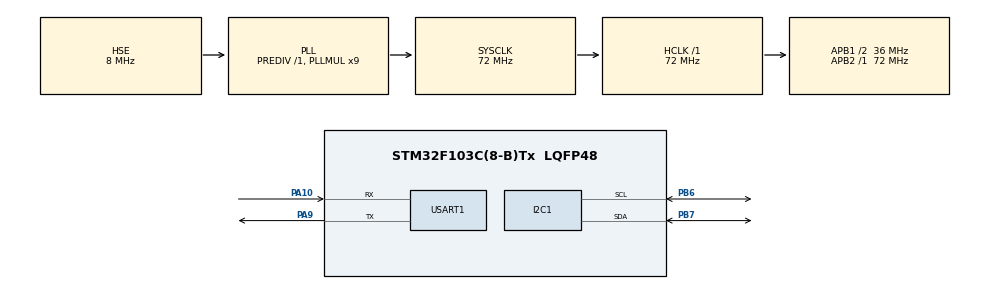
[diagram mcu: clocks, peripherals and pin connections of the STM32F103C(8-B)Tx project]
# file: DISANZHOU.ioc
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Mcu.Family=STM32F1
Mcu.Name=STM32F103C(8-B)Tx
Mcu.Package=LQFP48
NVIC.I2C1_ER_IRQn=true\:0\:0\:false\:false\:true\:true\:true\:true
NVIC.I2C1_EV_IRQn=true\:0\:0\:false\:false\:true\:true\:true\:true
NVIC.PriorityGroup=NVIC_PRIORITYGROUP_4
NVIC.RCC_IRQn=true\:0\:0\:false\:false\:true\:true\:false\:true
NVIC.TIM2_IRQn=true\:0\:0\:true\:false\:true\:true\:true\:true
NVIC.USART1_IRQn=true\:0\:0\:false\:false\:true\:true\:true\:true
PA10.Mode=Asynchronous
PA10.Signal=USART1_RX
PA13.Mode=Serial_Wire
PA13.Signal=SYS_JTMS-SWDIO
PA14.Mode=Serial_Wire
PA14.Signal=SYS_JTCK-SWCLK
PA9.Mode=Asynchronous
PA9.Signal=USART1_TX
PB6.Mode=I2C
PB6.Signal=I2C1_SCL
PB7.Mode=I2C
PB7.Signal=I2C1_SDA
PD0-OSC_IN.Mode=HSE-External-Oscillator
PD0-OSC_IN.Signal=RCC_OSC_IN
PD1-OSC_OUT.Mode=HSE-External-Oscillator
PD1-OSC_OUT.Signal=RCC_OSC_OUT
ProjectManager.HeapSize=0x200
ProjectManager.StackSize=0x400
ProjectManager.TargetToolchain=Makefile
RCC.AHBFreq_Value=72000000
RCC.APB1CLKDivider=RCC_HCLK_DIV2
RCC.APB1Freq_Value=36000000
RCC.APB1TimFreq_Value=72000000
RCC.APB2Freq_Value=72000000
RCC.APB2TimFreq_Value=72000000
RCC.HCLKFreq_Value=72000000
RCC.PLLMUL=RCC_PLL_MUL9
RCC.PLLSourceVirtual=RCC_PLLSOURCE_HSE
RCC.SYSCLKFreq_VALUE=72000000
RCC.SYSCLKSource=RCC_SYSCLKSOURCE_PLLCLK
RCC.USBFreq_Value=72000000
TIM2.Period=99
TIM2.Prescaler=7199
USART1.VirtualMode=VM_ASYNC
VP_TIM2_VS_ClockSourceINT.Mode=Internal
board=custom

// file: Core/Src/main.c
/* USER CODE BEGIN Header */
/**
  ******************************************************************************
  * @file           : main.c
  * @brief          : Main program body
  ******************************************************************************
  * @attention
  *
  * Copyright (c) 2026 STMicroelectronics.
  * All rights reserved.
  *
  * This software is licensed under terms that can be found in the LICENSE file
  * in the root directory of this software component.
  * If no LICENSE file comes with this software, it is provided AS-IS.
  *
  ******************************************************************************
  */
/* USER CODE END Header */
#include "main.h"
#include "i2c.h"
#include "tim.h"
#include "usart.h"
#include "gpio.h"

/* USER CODE BEGIN Includes */
#include "OLED.h"
#include <math.h>
#include <string.h>
/* USER CODE END Includes */

/* USER CODE BEGIN PTD */
typedef enum {
  sine   = 1,
  saw    = 2,
  square = 3,
} WaveTypedef;
/* USER CODE END PTD */

/* USER CODE BEGIN PD */
#define SINE     100U
#define SAW       50U
#define SQUARE   150U
#define VOFA    8U
/* USER CODE END PD */

void SystemClock_Config(void);

/* USER CODE BEGIN 0 */
static const uint8_t vofa_tail[4] = {0x00, 0x00, 0x80, 0x7f};

/* 与中断共享，必须 volatile */
volatile WaveTypedef current_wave     = sine;
volatile uint8_t     f10              = 0;
volatile uint8_t     oled_need_refresh = 0;
volatile uint16_t    point_index      = 0;

static uint8_t r;                 /* UART 接收单字节缓�?? */

static void OLED_waveming(WaveTypedef wave);
static void VOFA_SendFloat(float f);
static float switc(WaveTypedef wave, uint16_t idx);
static uint16_t wavep(WaveTypedef wave);
/* USER CODE END 0 */

int main(void)
{

  /* MCU Configuration--------------------------------------------------------*/

  /* Reset of all peripherals, Initializes the Flash interface and the Systick. */
  HAL_Init();

  /* Configure the system clock */
  SystemClock_Config();

  /* Initialize all configured peripherals */
  MX_GPIO_Init();
  MX_TIM2_Init();
  MX_USART1_UART_Init();
  MX_I2C1_Init();
  /* USER CODE BEGIN 2 */
  OLED_init();
  OLED_display_on();
  HAL_TIM_Base_Start_IT(&htim2);
  HAL_UART_Receive_IT(&huart1, &r, 1);
  oled_need_refresh = 1;
  /* USER CODE END 2 */

  /* Infinite loop */
  /* USER CODE BEGIN WHILE */
  while (1)
  {
    /* 波形优先：先保证点输出节拍，再做 OLED 刷新 */
    if (f10)
    {
        f10 = 0;
        float val = switc(current_wave, point_index);
        VOFA_SendFloat(val);

        point_index++;
        if (point_index >= wavep(current_wave))
        {
            point_index = 0;
        }
    }

    if (oled_need_refresh)
    {
        oled_need_refresh = 0;
        OLED_waveming(current_wave);
    }
  }
    /* USER CODE END WHILE */

}

void SystemClock_Config(void)
{
  RCC_OscInitTypeDef RCC_OscInitStruct = {0};
  RCC_ClkInitTypeDef RCC_ClkInitStruct = {0};

  /** Initializes the RCC Oscillators according to the specified parameters
  * in the RCC_OscInitTypeDef structure.
  */
  RCC_OscInitStruct.OscillatorType = RCC_OSCILLATORTYPE_HSE;
  RCC_OscInitStruct.HSEState = RCC_HSE_ON;
  RCC_OscInitStruct.HSEPredivValue = RCC_HSE_PREDIV_DIV1;
  RCC_OscInitStruct.HSIState = RCC_HSI_ON;
  RCC_OscInitStruct.PLL.PLLState = RCC_PLL_ON;
  RCC_OscInitStruct.PLL.PLLSource = RCC_PLLSOURCE_HSE;
  RCC_OscInitStruct.PLL.PLLMUL = RCC_PLL_MUL9;
  if (HAL_RCC_OscConfig(&RCC_OscInitStruct) != HAL_OK)
  {
    Error_Handler();
  }

  /** Initializes the CPU, AHB and APB buses clocks
  */
  RCC_ClkInitStruct.ClockType = RCC_CLOCKTYPE_HCLK|RCC_CLOCKTYPE_SYSCLK
                              |RCC_CLOCKTYPE_PCLK1|RCC_CLOCKTYPE_PCLK2;
  RCC_ClkInitStruct.SYSCLKSource = RCC_SYSCLKSOURCE_PLLCLK;
  RCC_ClkInitStruct.AHBCLKDivider = RCC_SYSCLK_DIV1;
  RCC_ClkInitStruct.APB1CLKDivider = RCC_HCLK_DIV2;
  RCC_ClkInitStruct.APB2CLKDivider = RCC_HCLK_DIV1;

  if (HAL_RCC_ClockConfig(&RCC_ClkInitStruct, FLASH_LATENCY_2) != HAL_OK)
  {
    Error_Handler();
  }
}

/* USER CODE BEGIN 4 */
void HAL_TIM_PeriodElapsedCallback(TIM_HandleTypeDef *htim)
{
  if (htim->Instance == TIM2)
  {
    f10 = 1;
  }
}

static uint16_t wavep(WaveTypedef wave)
{
  switch (wave)
  {
    case saw:    return SAW;
    case square: return SQUARE;
    case sine:
    default:     return SINE;
  }
}

static float switc(WaveTypedef wave, uint16_t idx)
{
  float res = 0.0f;
  if (wave == sine)
  {
    float rad = 2.0f * 3.1415926f * (float)idx / (float)SINE;
    res = 2.0f * sinf(rad);
  }
  else if (wave == saw)
  {
    res = -2.0f + 4.0f * (float)idx / (float)(SAW - 1U);
  }
  else if (wave == square)
  {
    res = (idx < (SQUARE / 2U)) ? 2.0f : -2.0f;
  }
  return res;
}

void HAL_UART_RxCpltCallback(UART_HandleTypeDef *huart)
{
  if (huart->Instance == USART1)
  {
    if (r == '1' || r == '2' || r == '3')
    {
      current_wave      = (WaveTypedef)(r - '0');
      point_index       = 0;
      oled_need_refresh = 1;
    }
    HAL_UART_Receive_IT(&huart1, &r, 1);
  }
}

static void VOFA_SendFloat(float f)
{
  uint8_t buf[VOFA];
  memcpy(buf, &f, 4);
  memcpy(buf + 4, vofa_tail, 4);
  HAL_UART_Transmit(&huart1, buf, VOFA, 50);
}

static void OLED_waveming(WaveTypedef wave)
{
  const char *name;
  switch (wave)
  {
    case saw:    name = "Wave:Saw";    break;
    case square: name = "Wave:Square"; break;
    case sine:
    default:     name = "Wave:Sine";   break;
  }
  OLED_operate_gram(PEN_CLEAR);
  OLED_show_string(0, 0, (uint8_t *)name);
  OLED_refresh_gram();
}
/* USER CODE END 4 */

void Error_Handler(void)
{
  __disable_irq();
  while (1)
  {
  }
}
